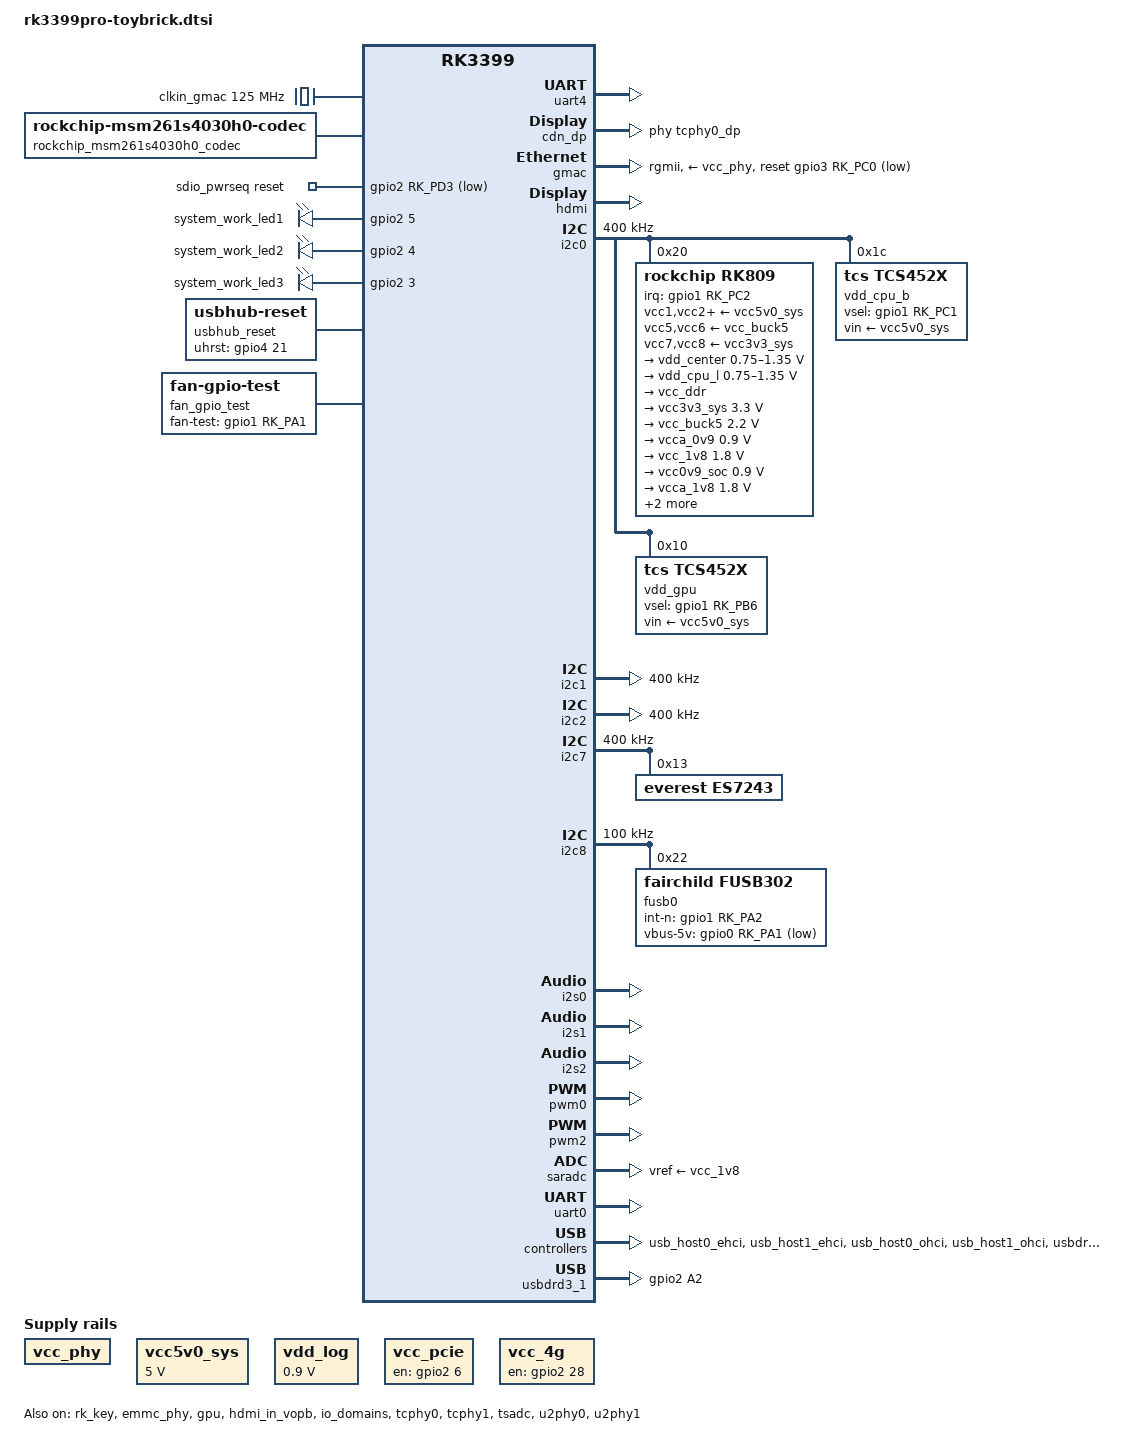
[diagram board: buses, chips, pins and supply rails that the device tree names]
// SPDX-License-Identifier: (GPL-2.0+ OR MIT)
// Copyright (c) 2018 Fuzhou Rockchip Electronics Co., Ltd

#include <dt-bindings/gpio/gpio.h>
#include <dt-bindings/pinctrl/rockchip.h>
#include <dt-bindings/input/input.h>
#include <dt-bindings/display/drm_mipi_dsi.h>
#include <dt-bindings/sensor-dev.h>
#include <dt-bindings/pwm/pwm.h>
#include "rk3399pro.dtsi"
#include "rk3399-opp.dtsi"
#include "rk3399-vop-clk-set.dtsi"
#include "rk3399-android.dtsi"
//#include "lcd-edp-for-toybrick.dtsi"

/ {
	compatible = "rockchip,rk3399pro-toybrick", "rockchip,rk3399pro";

	clkin_gmac: external-gmac-clock {
		compatible = "fixed-clock";
		clock-frequency = <125000000>;
		clock-output-names = "clkin_gmac";
		#clock-cells = <0>;
	};

	rk809-sound {
		compatible = "simple-audio-card";
		simple-audio-card,format = "i2s";
		simple-audio-card,name = "rockchip,rk809-codec";
		simple-audio-card,mclk-fs = <256>;
		simple-audio-card,widgets =
			"Microphone", "Mic Jack",
			"Headphone", "Headphone Jack";
		simple-audio-card,routing =
			"Mic Jack", "MICBIAS1",
			"IN1P", "Mic Jack",
			"Headphone Jack", "HPOL",
			"Headphone Jack", "HPOR";
		simple-audio-card,cpu {
			sound-dai = <&i2s1>;
		};
		simple-audio-card,codec {
			sound-dai = <&rk809_codec>;
		};
	};
	
	hdmi_codec: hdmi-codec {
		status="disabled";
		compatible = "simple-audio-card";
		simple-audio-card,format = "i2s";
		simple-audio-card,mclk-fs = <256>;
		simple-audio-card,name = "HDMI-CODEC";

		simple-audio-card,cpu {
			sound-dai = <&i2s2>;
		};

		simple-audio-card,codec {
			sound-dai = <&hdmi>;
		};
	};
	
	rockchip_msm261s4030h0_codec: rockchip-msm261s4030h0-codec {
		status = "okay";
		compatible = "rockchip-msm261s4030h0-codec";
	};
	
	rockchip_msm261s4030h0:rockchip-msm261s4030h0 {
		compatible = "rockchip-msm261s4030h0";
		status = "okay";
		rockchip,codec = <&rockchip_msm261s4030h0_codec>;
		rockchip,cpu = <&i2s0>;
	};

	sdio_pwrseq: sdio-pwrseq {
		compatible = "mmc-pwrseq-simple";
		clocks = <&rk809 1>;
		clock-names = "ext_clock";
		pinctrl-names = "default";
		pinctrl-0 = <&wifi_enable_h>;

		/*
		 * On the module itself this is one of these (depending
		 * on the actual card populated):
		 * - SDIO_RESET_L_WL_REG_ON
		 * - PDN (power down when low)
		 */
		reset-gpios = <&gpio2 RK_PD3 GPIO_ACTIVE_LOW>;
	};

	vcc_phy: vcc-phy-regulator {
		compatible = "regulator-fixed";
		regulator-name = "vcc_phy";
		regulator-always-on;
		regulator-boot-on;
	};

	vcc5v0_sys: vccsys {
		compatible = "regulator-fixed";
		regulator-name = "vcc5v0_sys";
		regulator-always-on;
		regulator-boot-on;
		regulator-min-microvolt = <5000000>;
		regulator-max-microvolt = <5000000>;
	};

	vdd_log: vdd_log {
		compatible = "regulator-fixed";
		regulator-name = "vdd_log";
		regulator-always-on;
		regulator-boot-on;
		regulator-min-microvolt = <900000>;
		regulator-max-microvolt = <900000>;
	};

	vcc_pcie: vcc-pcie-regulator {
		compatible = "regulator-fixed";
		enable-active-high;
		gpio = <&gpio2 6 GPIO_ACTIVE_HIGH>;
		pinctrl-names = "default";
		pinctrl-0 = <&vcc_pcie_drv>;
		regulator-name = "vcc_pcie";
		regulator-always-on;
		regulator-boot-on;
	};

	vcc_4g: vcc-4g-regulator {
		compatible = "regulator-fixed";
		enable-active-high;
		gpio = <&gpio2 28 GPIO_ACTIVE_HIGH>;
		pinctrl-names = "default";
		pinctrl-0 = <&vcc_4g_drv>;
		regulator-name = "vcc_4g";
		regulator-always-on;
		regulator-boot-on;
	};

	leds: gpio-leds {
		compatible = "gpio-leds";
		pinctrl-names = "default";
		pinctrl-0 =<&leds_gpio>;

		led@1 {
			gpios = <&gpio2 5 GPIO_ACTIVE_HIGH>;
			label = "system_work_led1";
			retain-state-suspended;
		};

		led@2 {
			gpios = <&gpio2 4 GPIO_ACTIVE_HIGH>;
			label = "system_work_led2";
			retain-state-suspended;
		};

		led@3 {
			gpios = <&gpio2 3 GPIO_ACTIVE_HIGH>;
			label = "system_work_led3";
			retain-state-suspended;
		};
	};

	mini-pcie {
		compatible = "mini-pcie";
		pinctrl-names = "default";
		pinctrl-0 = <&mini_pcie_pins>;
		status = "okay";
	};

	usbhub_reset: usbhub-reset {
		compatible = "usbhub-reset";
		uhrst-gpio = <&gpio4 21 GPIO_ACTIVE_HIGH>;
	};

	fan_gpio_test: fan-gpio-test {
		compatible = "fan-gpio-test";
		pinctrl-names = "default";
		pinctrl-0 = <&fan_test_gpio>;
		fan-test-gpios = <&gpio1 RK_PA1 GPIO_ACTIVE_HIGH>;
		status = "okay";
	};
	
	cif_isp0: cif_isp@ff910000 {
		compatible = "rockchip,rk3399-cif-isp";
		rockchip,grf = <&grf>;
		reg = <0x0 0xff910000 0x0 0x4000>, <0x0 0xff968000 0x0 0x8000>;
		reg-names = "register", "dsihost-register";
		clocks =
			<&cru ACLK_ISP0_NOC>, <&cru ACLK_ISP0_WRAPPER>,
			<&cru HCLK_ISP0_NOC>, <&cru HCLK_ISP0_WRAPPER>,
			<&cru SCLK_ISP0>, <&cru SCLK_DPHY_RX0_CFG>,
			<&cru SCLK_CIF_OUT>, <&cru SCLK_CIF_OUT>,
			<&cru SCLK_MIPIDPHY_REF>;
		clock-names =
			"aclk_isp0_noc", "aclk_isp0_wrapper",
			"hclk_isp0_noc", "hclk_isp0_wrapper",
			"clk_isp0", "pclk_dphyrx",
			"clk_cif_out", "clk_cif_pll",
			"pclk_dphy_ref";
		interrupts = <GIC_SPI 43 IRQ_TYPE_LEVEL_HIGH 0>;
		interrupt-names = "cif_isp10_irq";
		power-domains = <&power RK3399_PD_ISP0>;
		rockchip,isp,iommu-enable = <1>;
		iommus = <&isp0_mmu>;
		status = "disabled";
	};

	cif_isp1: cif_isp@ff920000 {
		compatible = "rockchip,rk3399-cif-isp";
		rockchip,grf = <&grf>;
		reg = <0x0 0xff920000 0x0 0x4000>, <0x0 0xff968000 0x0 0x8000>;
		reg-names = "register", "dsihost-register";
		clocks =
		<&cru ACLK_ISP1_NOC>, <&cru ACLK_ISP1_WRAPPER>,
		<&cru HCLK_ISP1_NOC>, <&cru HCLK_ISP1_WRAPPER>,
		<&cru SCLK_ISP1>, <&cru PCLK_ISP1_WRAPPER>,
		<&cru SCLK_DPHY_TX1RX1_CFG>,
		<&cru PCLK_MIPI_DSI1>, <&cru SCLK_MIPIDPHY_CFG>,
		<&cru SCLK_CIF_OUT>, <&cru SCLK_CIF_OUT>,
		<&cru SCLK_MIPIDPHY_REF>;
		clock-names =
			"aclk_isp1_noc", "aclk_isp1_wrapper",
			"hclk_isp1_noc", "hclk_isp1_wrapper",
			"clk_isp1", "pclkin_isp1",
			"pclk_dphytxrx",
			"pclk_mipi_dsi","mipi_dphy_cfg",
			"clk_cif_out", "clk_cif_pll",
			"pclk_dphy_ref";
		interrupts = <GIC_SPI 44 IRQ_TYPE_LEVEL_HIGH 0>;
		interrupt-names = "cif_isp10_irq";
		power-domains = <&power RK3399_PD_ISP1>;
		rockchip,isp,iommu-enable = <1>;
		iommus = <&isp1_mmu>;
		status = "disabled";
	};
	
	isp0: isp@ff910000 {
		compatible = "rockchip,rk3399-isp", "rockchip,isp";
		reg = <0x0 0xff910000 0x0 0x4000>;
		interrupts = <GIC_SPI 43 IRQ_TYPE_LEVEL_HIGH 0>;
		assigned-clocks = <&cru SCLK_CIF_OUT_SRC>;
		assigned-clock-parents = <&cru PLL_GPLL>;
		assigned-clock-rates = <800000000>;
		clocks =
			<&cru SCLK_CIF_OUT>, <&cru SCLK_CIF_OUT_SRC>,
			<&cru SCLK_DPHY_TX1RX1_CFG>, <&cru SCLK_MIPIDPHY_REF>,
			<&cru ACLK_ISP0_NOC>, <&cru ACLK_ISP0_WRAPPER>,
			<&cru HCLK_ISP0_NOC>, <&cru HCLK_ISP0_WRAPPER>,
			<&cru SCLK_ISP0>, <&cru SCLK_DPHY_RX0_CFG>;
		clock-names =
			"clk_cif_out", "clk_cif_pll",
			"pclk_dphytxrx", "pclk_dphy_ref",
			"aclk_isp0_noc", "aclk_isp0_wrapper",
			"hclk_isp0_noc", "hclk_isp0_wrapper",
			"clk_isp0", "pclk_dphyrx";
		pinctrl-names =
			"cif_clkout", "isp_dvp8bit0", "isp_mipi_fl",
			"isp_mipi_fl_prefl", "isp_flash_as_gpio",
			"isp_flash_as_trigger_out";
		pinctrl-0 = <&cif_clkout>;
		pinctrl-1 = <&cif_clkout &isp_dvp_d0d7>;
		pinctrl-2 = <&cif_clkout>;
		pinctrl-3 = <&cif_clkout &isp_prelight>;
		pinctrl-4 = <&isp_flash_trigger_as_gpio>;
		pinctrl-5 = <&isp_flash_trigger>;
		rockchip,isp,mipiphy = <2>;
		rockchip,isp,cifphy = <1>;
		rockchip,isp,dsiphy,reg = <0xff968000 0x8000>;
		rockchip,grf = <&grf>;
		rockchip,cru = <&cru>;
		rockchip,gpios = <&gpio1 3 GPIO_ACTIVE_HIGH>;
		rockchip,isp,iommu-enable = <1>;
		power-domains = <&power RK3399_PD_ISP0>;
		iommus = <&isp0_mmu>;
		status = "disabled";
	};

	isp1: isp@ff920000 {
		compatible = "rockchip,rk3399-isp", "rockchip,isp";
		reg = <0x0 0xff920000 0x0 0x4000>;
		interrupts = <GIC_SPI 44 IRQ_TYPE_LEVEL_HIGH 0>;
		clocks =
			<&cru ACLK_ISP1_NOC>, <&cru ACLK_ISP1_WRAPPER>,
			<&cru HCLK_ISP1_NOC>, <&cru HCLK_ISP1_WRAPPER>,
			<&cru SCLK_ISP1>, <&cru SCLK_CIF_OUT>,
			<&cru SCLK_CIF_OUT_SRC>, <&cru SCLK_DPHY_TX1RX1_CFG>,
			<&cru SCLK_MIPIDPHY_REF>, <&cru PCLK_ISP1_WRAPPER>,
			<&cru SCLK_DPHY_RX0_CFG>, <&cru PCLK_MIPI_DSI1>,
			<&cru SCLK_MIPIDPHY_CFG>;
		clock-names =
			"aclk_isp1_noc", "aclk_isp1_wrapper",
			"hclk_isp1_noc", "hclk_isp1_wrapper",
			"clk_isp1", "clk_cif_out",
			"clk_cif_pll", "pclk_dphytxrx",
			"pclk_dphy_ref", "pclk_isp1",
			"pclk_dphyrx", "pclk_mipi_dsi",
			"mipi_dphy_cfg";
		pinctrl-names =
			"cif_clkout", "isp_dvp8bit0", "isp_mipi_fl",
			"isp_mipi_fl_prefl", "isp_flash_as_gpio",
			"isp_flash_as_trigger_out";
		pinctrl-0 = <&cif_clkout>;
		pinctrl-1 = <&cif_clkout &isp_dvp_d0d7>;
		pinctrl-2 = <&cif_clkout>;
		pinctrl-3 = <&isp_prelight>;
		pinctrl-4 = <&isp_flash_trigger_as_gpio>;
		pinctrl-5 = <&isp_flash_trigger>;
		rockchip,isp,mipiphy = <2>;
		rockchip,isp,cifphy = <1>;
		rockchip,isp,dsiphy,reg = <0xff968000 0x8000>;
		rockchip,grf = <&grf>;
		rockchip,cru = <&cru>;
		rockchip,gpios = <&gpio1 3 GPIO_ACTIVE_HIGH>;
		rockchip,isp,iommu-enable = <1>;
		power-domains = <&power RK3399_PD_ISP1>;
		iommus = <&isp1_mmu>;
		status = "disabled";
	};
};

&fiq_debugger {
	pinctrl-0 = <&uart2c_xfer>;
};

&rk_key {
	status = "okay";
	io-channels = <&saradc 2>;
	/delete-node/ power-key;
};

&uart4 {
	status = "okay";
};

&vopl {

	assigned-clocks = <&cru DCLK_VOP1_DIV>;
	assigned-clock-parents = <&cru PLL_VPLL>;
};

&vopb {
	assigned-clocks = <&cru DCLK_VOP0_DIV>;
	assigned-clock-parents = <&cru PLL_CPLL>;
};

&cdn_dp {
	status = "okay";
	extcon = <&fusb0>;
	phys = <&tcphy0_dp>;
};

&cpu_l0 {
	cpu-supply = <&vdd_cpu_l>;
};

&cpu_l1 {
	cpu-supply = <&vdd_cpu_l>;
};

&cpu_l2 {
	cpu-supply = <&vdd_cpu_l>;
};

&cpu_l3 {
	cpu-supply = <&vdd_cpu_l>;
};

&cpu_b0 {
	cpu-supply = <&vdd_cpu_b>;
};

&cpu_b1 {
	cpu-supply = <&vdd_cpu_b>;
};

&dp_in_vopb {
	status = "disabled";
};

&emmc_phy {
	status = "okay";
};

&gmac {
	phy-supply = <&vcc_phy>;
	phy-mode = "rgmii";
	clock_in_out = "input";
	snps,reset-gpio = <&gpio3 RK_PC0 GPIO_ACTIVE_LOW>;
	snps,reset-active-low;
	snps,reset-delays-us = <0 10000 50000>;
	assigned-clocks = <&cru SCLK_RMII_SRC>;
	assigned-clock-parents = <&clkin_gmac>;
	pinctrl-names = "default";
	pinctrl-0 = <&rgmii_pins>;
	tx_delay = <0x28>;
	rx_delay = <0x11>;
	status = "okay";
};

&gpu {
	status = "okay";
	mali-supply = <&vdd_gpu>;
};

&hdmi {
	status = "okay";
};

&hdmi_in_vopb {
	status = "okay";
};

&hdmi_in_vopl {
	status = "disabled";
};

&i2c0 {
	status = "okay";
	i2c-scl-rising-time-ns = <180>;
	i2c-scl-falling-time-ns = <30>;
	clock-frequency = <400000>;

	rk809: pmic@20 {
		compatible = "rockchip,rk809";
		reg = <0x20>;
		interrupt-parent = <&gpio1>;
		interrupts = <RK_PC2 IRQ_TYPE_LEVEL_LOW>;
		pinctrl-names = "default", "pmic-sleep",
				"pmic-power-off", "pmic-reset";
		pinctrl-0 = <&pmic_int_l>;
		pinctrl-1 = <&soc_slppin_slp>, <&rk809_slppin_slp>;
		pinctrl-2 = <&soc_slppin_gpio>, <&rk809_slppin_pwrdn>;
		pinctrl-3 = <&soc_slppin_gpio>,<&rk809_slppin_null>;
		rockchip,system-power-controller;
		pmic-reset-func = <0>;
		wakeup-source;
		#clock-cells = <1>;
		clock-output-names = "rk808-clkout1", "rk808-clkout2";

		vcc1-supply = <&vcc5v0_sys>;
		vcc2-supply = <&vcc5v0_sys>;
		vcc3-supply = <&vcc5v0_sys>;
		vcc4-supply = <&vcc5v0_sys>;
		vcc5-supply = <&vcc_buck5>;
		vcc6-supply = <&vcc_buck5>;
		vcc7-supply = <&vcc3v3_sys>;
		vcc8-supply = <&vcc3v3_sys>;
		vcc9-supply = <&vcc5v0_sys>;

		pwrkey {
			status = "okay";
		};

		rtc {
			status = "okay";
		};

		pinctrl_rk8xx: pinctrl_rk8xx {
			gpio-controller;
			#gpio-cells = <2>;

			rk809_slppin_null: rk809_slppin_null {
				pins = "gpio_slp";
				function = "pin_fun0";
			};

			rk809_slppin_slp: rk809_slppin_slp {
				pins = "gpio_slp";
				function = "pin_fun1";
			};

			rk809_slppin_pwrdn: rk809_slppin_pwrdn {
				pins = "gpio_slp";
				function = "pin_fun2";
			};

			rk809_slppin_rst: rk809_slppin_rst {
				pins = "gpio_slp";
				function = "pin_fun3";
			};
		};

		regulators {
			vdd_center: DCDC_REG1 {
				regulator-always-on;
				regulator-boot-on;
				regulator-min-microvolt = <750000>;
				regulator-max-microvolt = <1350000>;
				regulator-initial-mode = <0x2>;
				regulator-name = "vdd_center";
				regulator-state-mem {
					regulator-on-in-suspend;
					regulator-suspend-microvolt = <900000>;
				};
			};

			vdd_cpu_l: DCDC_REG2 {
				regulator-always-on;
				regulator-boot-on;
				regulator-min-microvolt = <750000>;
				regulator-max-microvolt = <1350000>;
				regulator-ramp-delay = <6001>;
				regulator-initial-mode = <0x2>;
				regulator-name = "vdd_cpu_l";
				regulator-state-mem {
					regulator-off-in-suspend;
				};
			};

			vcc_ddr: DCDC_REG3 {
				regulator-always-on;
				regulator-boot-on;
				regulator-name = "vcc_ddr";
				regulator-initial-mode = <0x2>;
				regulator-state-mem {
					regulator-on-in-suspend;
				};
			};

			vcc3v3_sys: DCDC_REG4 {
				regulator-always-on;
				regulator-boot-on;
				regulator-min-microvolt = <3300000>;
				regulator-max-microvolt = <3300000>;
				regulator-initial-mode = <0x2>;
				regulator-name = "vcc3v3_sys";
				regulator-state-mem {
					regulator-on-in-suspend;
					regulator-suspend-microvolt = <3300000>;
				};
			};

			vcc_buck5: DCDC_REG5 {
				regulator-always-on;
				regulator-boot-on;
				regulator-min-microvolt = <2200000>;
				regulator-max-microvolt = <2200000>;
				regulator-name = "vcc_buck5";
				regulator-state-mem {
					regulator-on-in-suspend;
					regulator-suspend-microvolt = <2200000>;
				};
			};

			vcca_0v9: LDO_REG1 {
				regulator-always-on;
				regulator-boot-on;
				regulator-min-microvolt = <900000>;
				regulator-max-microvolt = <900000>;
				regulator-name = "vcca_0v9";
				regulator-state-mem {
					regulator-off-in-suspend;
				};
			};

			vcc_1v8: LDO_REG2 {
				regulator-always-on;
				regulator-boot-on;
				regulator-min-microvolt = <1800000>;
				regulator-max-microvolt = <1800000>;

				regulator-name = "vcc_1v8";
				regulator-state-mem {
					regulator-on-in-suspend;
					regulator-suspend-microvolt = <1800000>;
				};
			};

			vcc0v9_soc: LDO_REG3 {
				regulator-always-on;
				regulator-boot-on;
				regulator-min-microvolt = <900000>;
				regulator-max-microvolt = <900000>;

				regulator-name = "vcc0v9_soc";
				regulator-state-mem {
					regulator-on-in-suspend;
					regulator-suspend-microvolt = <900000>;
				};
			};

			vcca_1v8: LDO_REG4 {
				regulator-always-on;
				regulator-boot-on;
				regulator-min-microvolt = <1800000>;
				regulator-max-microvolt = <1800000>;

				regulator-name = "vcca_1v8";
				regulator-state-mem {
					regulator-off-in-suspend;
				};
			};

			vdd1v5_dvp: LDO_REG5 {
				regulator-always-on;
				regulator-boot-on;
				regulator-min-microvolt = <1500000>;
				regulator-max-microvolt = <1500000>;

				regulator-name = "vdd1v5_dvp";
				regulator-state-mem {
					regulator-off-in-suspend;
				};
			};

			vcc_1v5: LDO_REG6 {
				regulator-always-on;
				regulator-boot-on;
				regulator-min-microvolt = <1500000>;
				regulator-max-microvolt = <1500000>;

				regulator-name = "vcc_1v5";
				regulator-state-mem {
					regulator-off-in-suspend;
				};
			};

			vcc_3v0: LDO_REG7 {
				regulator-always-on;
				regulator-boot-on;
				regulator-min-microvolt = <3000000>;
				regulator-max-microvolt = <3000000>;

				regulator-name = "vcc_3v0";
				regulator-state-mem {
					regulator-off-in-suspend;
				};
			};

			vccio_sd: LDO_REG8 {
				regulator-always-on;
				regulator-boot-on;
				regulator-min-microvolt = <1800000>;
				regulator-max-microvolt = <3300000>;

				regulator-name = "vccio_sd";
				regulator-state-mem {
					regulator-on-in-suspend;
					regulator-suspend-microvolt = <3300000>;
				};
			};

			vcc_sd: LDO_REG9 {
				regulator-always-on;
				regulator-boot-on;
				regulator-min-microvolt = <3300000>;
				regulator-max-microvolt = <3300000>;

				regulator-name = "vcc_sd";
				regulator-state-mem {
					regulator-on-in-suspend;
					regulator-suspend-microvolt = <3300000>;
				};
			};

			vcc5v0_usb: SWITCH_REG1 {
				regulator-min-microvolt = <5000000>;
				regulator-max-microvolt = <5000000>;

				regulator-name = "vcc5v0_usb";
				regulator-state-mem {
					regulator-off-in-suspend;
				};
			};

			vccio_3v3: SWITCH_REG2 {
				regulator-always-on;
				regulator-boot-on;
				regulator-min-microvolt = <3300000>;
				regulator-max-microvolt = <3300000>;

				regulator-name = "vccio_3v3";
				regulator-state-mem {
					regulator-off-in-suspend;
				};
			};
		};

		rk809_codec: codec {
			#sound-dai-cells = <0>;
			compatible = "rockchip,rk809-codec", "rockchip,rk817-codec";
			clocks = <&cru SCLK_I2S_8CH_OUT>;
			clock-names = "mclk";
			pinctrl-names = "default";
			pinctrl-0 = <&i2s_8ch_mclk>;
			hp-volume = <20>;
			spk-volume = <3>;
			status = "okay";
		};
	};

	vdd_cpu_b: tcs452x@1c {
		compatible = "tcs,tcs452x";
		reg = <0x1c>;
		vin-supply = <&vcc5v0_sys>;
		regulator-compatible = "fan53555-reg";
		pinctrl-0 = <&vsel1_gpio>;
		vsel-gpios = <&gpio1 RK_PC1 GPIO_ACTIVE_HIGH>;
		regulator-name = "vdd_cpu_b";
		regulator-min-microvolt = <712500>;
		regulator-max-microvolt = <1500000>;
		regulator-ramp-delay = <2300>;
		fcs,suspend-voltage-selector = <1>;
		regulator-always-on;
		regulator-boot-on;
		regulator-initial-state = <3>;
		regulator-state-mem {
			regulator-off-in-suspend;
		};
	};

	vdd_gpu: tcs452x@10 {
		compatible = "tcs,tcs452x";
		status = "okay";
		reg = <0x10>;
		vin-supply = <&vcc5v0_sys>;
		regulator-compatible = "fan53555-reg";
		pinctrl-0 = <&vsel2_gpio>;
		vsel-gpios = <&gpio1 RK_PB6 GPIO_ACTIVE_HIGH>;
		regulator-name = "vdd_gpu";
		regulator-min-microvolt = <735000>;
		regulator-max-microvolt = <1400000>;
		regulator-ramp-delay = <2300>;
		fcs,suspend-voltage-selector = <1>;
		regulator-always-on;
		regulator-boot-on;
		regulator-state-mem {
			regulator-off-in-suspend;
		};
	};

};

&i2c1 {
	status = "okay";
	i2c-scl-rising-time-ns = <300>;
	i2c-scl-falling-time-ns = <15>;
	clock-frequency=<400000>;
};

&i2c2 {
	status = "okay";
	i2c-scl-rising-time-ns = <300>;
	i2c-scl-falling-time-ns = <15>;
	clock-frequency=<400000>;
};

&i2c7 {
	status = "okay";
	i2c-scl-rising-time-ns = <345>;
	i2c-scl-falling-time-ns = <11>;
	clock-frequency = <400000>;
	es7243: es7243@13 {
		status = "okay";
		compatible = "everest,es7243";
		reg = <0x13>;
	};
};

&i2c8 {
	status = "okay";
	i2c-scl-rising-time-ns = <345>;
	i2c-scl-falling-time-ns = <11>;
	clock-frequency = <100000>;

	fusb0: fusb30x@22 {
		compatible = "fairchild,fusb302";
		reg = <0x22>;
		pinctrl-names = "default";
		pinctrl-0 = <&fusb0_int>;
		int-n-gpios = <&gpio1 RK_PA2 GPIO_ACTIVE_HIGH>;
		vbus-5v-gpios = <&gpio0 RK_PA1 GPIO_ACTIVE_LOW>;
		status = "okay";
	};

};

&i2s0 {
	status = "okay";
	rockchip,i2s-broken-burst-len;
	rockchip,playback-channels = <8>;
	rockchip,capture-channels = <8>;
	#sound-dai-cells = <0>;
};

&i2s1 {
	status = "okay";
	#sound-dai-cells = <0>;
};

&i2s2 {
    status = "okay";
    #sound-dai-cells = <0>;
};

&io_domains {
	status = "okay";
	bt656-supply = <&vcca_1v8>; /* APIO2_VDD */
	audio-supply = <&vcca_1v8>; /* APIO5_VDD */
	sdmmc-supply = <&vccio_sd>; /* SDMMC0_VDD */
	gpio1830-supply = <&vcc_3v0>; /* APIO4_VDD */
};

&pmu_io_domains {
	status = "okay";
	pmu1830-supply = <&vcc_1v8>;
};

&pwm0 {
	status = "okay";
};

&pwm2 {
	status = "okay";
};

&rockchip_suspend {
	status = "okay";
	rockchip,sleep-debug-en = <1>;
	rockchip,sleep-mode-config = <
		(0
		| RKPM_SLP_ARMPD
		| RKPM_SLP_PERILPPD
		| RKPM_SLP_DDR_RET
		| RKPM_SLP_PLLPD
		| RKPM_SLP_CENTER_PD
		| RKPM_SLP_OSC_DIS
		| RKPM_SLP_AP_PWROFF
		)
	>;
	rockchip,wakeup-config = <RKPM_GPIO_WKUP_EN>;
	rockchip,pwm-regulator-config = <PWM2_REGULATOR_EN>;
	rockchip,power-ctrl =
		<&gpio1 RK_PC1 GPIO_ACTIVE_HIGH>,
		<&gpio1 RK_PB6 GPIO_ACTIVE_HIGH>;
};

&saradc {
	status = "okay";
	vref-supply = <&vcc_1v8>;
};

&spi1 {
	status = "disabled";
	max-freq = <48000000>; /* spi internal clk, don't modify */
	spi_dev@0 {
		compatible = "rockchip,spidev";
		reg = <0>;
		spi-max-frequency = <12000000>;
		spi-lsb-first;
	};
};

&tcphy0 {
	extcon = <&fusb0>;
	status = "okay";
};

&tcphy1 {
	status = "okay";
};

&tsadc {
	rockchip,hw-tshut-mode = <1>; /* tshut mode 0:CRU 1:GPIO */
	rockchip,hw-tshut-polarity = <1>; /* tshut polarity 0:LOW 1:HIGH */
	status = "okay";
};

&u2phy0 {
	status = "okay";
	extcon = <&fusb0>;

	u2phy0_otg: otg-port {
		status = "okay";
	};

	u2phy0_host: host-port {
		phy-supply = <&vcc5v0_usb>;
		status = "okay";
	};
};

&u2phy1 {
	status = "okay";

	u2phy1_otg: otg-port {
		status = "okay";
	};

	u2phy1_host: host-port {
		phy-supply = <&vcc5v0_usb>;
		status = "okay";
	};
};

&uart0 {
	pinctrl-names = "default";
	pinctrl-0 = <&uart0_xfer &uart0_cts>;
	status = "okay";
};

&usb_host0_ehci {
	status = "okay";
};

&usb_host1_ehci {
	status = "okay";
};
&usb_host0_ohci {
	status = "okay";
};

&usb_host1_ohci {
	status = "okay";
};

&usbdrd3_0 {
	extcon = <&fusb0>;
	status = "okay";
};

&usbdrd3_1 {
	status = "okay";
	pinctrl-names = "default";
	pinctrl-0 = <&usb3_host_en>;
};

&usbdrd_dwc3_0 {
	status = "okay";
};

&usbdrd_dwc3_1 {
	snps,dis-u3-autosuspend-quirk;
	status = "okay";
};

&dmc {
	status = "disabled";
};

&pinctrl {
	pinctrl-names = "default";
	pinctrl-0 = <&npu_ref_clk>;

	usb3 {
		usb3_host_en: usb3-host-en {
			rockchip,pins =
				<2 RK_PA2 RK_FUNC_GPIO &pcfg_output_high>;
		};
	};
	bq2570 {
		charger_ok_int: charger-ok-int {
			rockchip,pins =
				<1 RK_PA1 0 &pcfg_pull_up>;
			};
	};

	fusb30x {
		fusb0_int: fusb0-int {
			rockchip,pins =
				<1 RK_PA2 0 &pcfg_pull_up>;
			};
	};

	lcd_rst {
		lcd_rst_gpio: lcd-rst-gpio {
			rockchip,pins =
				<3 RK_PA4 0 &pcfg_pull_none>;
		};
	};

	npu_clk {
		npu_ref_clk: npu-ref-clk {
		     rockchip,pins =
			     <0 RK_PA2 1 &pcfg_pull_none>;
	     };
	};

	pmic {
		pmic_int_l: pmic-int-l {
			rockchip,pins =
				<1 RK_PC2 0 &pcfg_pull_up>;
		};
		vsel1_gpio: vsel1-gpio {
			rockchip,pins =
				<1 RK_PC1 0 &pcfg_pull_down>;
		};
		vsel2_gpio: vsel2-gpio {
			rockchip,pins =
				<1 RK_PB6 0 &pcfg_pull_down>;
		};

		soc_slppin_gpio: soc-slppin-gpio {
			rockchip,pins =
				<1 RK_PA5 0 &pcfg_output_low>;
		};

		soc_slppin_slp: soc-slppin-slp {
			rockchip,pins =
				<1 RK_PA5 1 &pcfg_pull_down>;
		};
	};

	sdio-pwrseq {
		wifi_enable_h: wifi-enable-h {
			rockchip,pins =
				<2 RK_PD3 0 &pcfg_pull_none>;
		};
	};

	tp_irq {
		tp_irq_gpio: tp-irq-gpio {
			rockchip,pins =
				<3 RK_PB0 0 &pcfg_pull_up>;
		};
	};

    gpio-leds {
		leds_gpio: leds-gpio {
			rockchip,pins =
				<2 5 RK_FUNC_GPIO &pcfg_pull_up>,
				<2 4 RK_FUNC_GPIO &pcfg_pull_up>,
				<2 3 RK_FUNC_GPIO &pcfg_pull_up>;
		};
	};

	pcie {
		vcc_pcie_drv: vcc-pcie-drv {
			rockchip,pins =
				<2 6 RK_FUNC_GPIO &pcfg_pull_up>;
		};
	};

	mini-pcie-gpio {
		vcc_4g_drv: vcc-4g-drv {
			rockchip,pins =
				<2 28 RK_FUNC_GPIO &pcfg_pull_up>;
		};

		mini_pcie_pins: mini-pcie-pins {
			rockchip,pins =
				<2 26 RK_FUNC_GPIO &pcfg_output_low>,
				<2 27 RK_FUNC_GPIO &pcfg_output_low>;
		};
	};

	fan-test {
		fan_test_gpio: fan-test-gpio {
			rockchip,pins =
				<1 RK_PA1 RK_FUNC_GPIO &pcfg_pull_up>;
		};
	};
};
